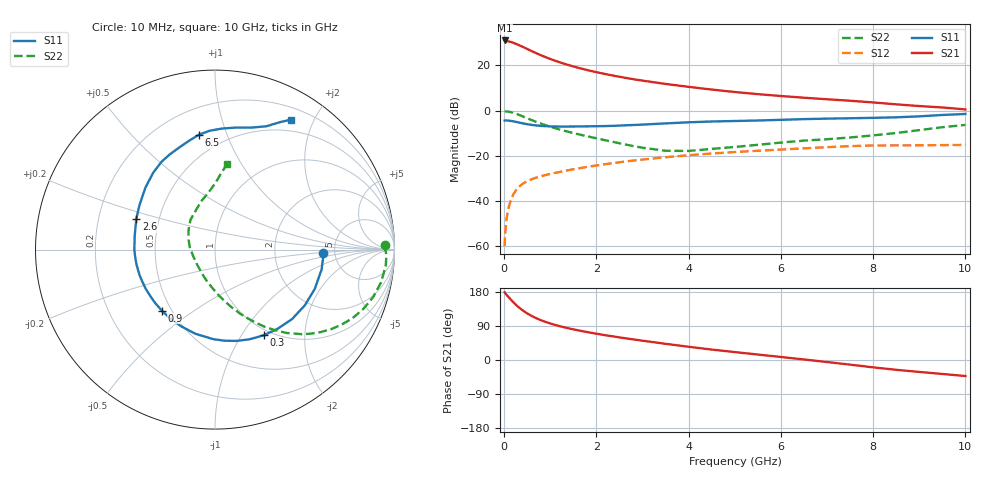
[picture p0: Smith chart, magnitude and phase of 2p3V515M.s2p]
! (c) 2009  Infineon Technologies AG, Munich
! Infineon Technologies  Discrete & RF Semiconductors
! BFP420
! VCE =  3.5 V,  IC =  15 mA
! Common Emitter S-Parameters:  Nov 2009
# GHz  S  MA  R  50
!  f  S11  S21  S12  S22
! GHz  MAG  ANG  MAG  ANG  MAG  ANG  MAG  ANG
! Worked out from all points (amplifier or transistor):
!   46 points, 10 MHz to 10 GHz, reference 50 ohm
!   highest |S21| = 31.0 dB at 10 MHz (marker M1)
!   |S21| within 3 dB of that: start of sweep to 421.3 MHz
!   unconditionally stable (mu >= 1): start of sweep to 12.88 MHz; 2.051 GHz to end of sweep
!   at 300 MHz: K = 0.28, MSG = 31.7 dB, |S12| = -34.2 dB
!   at 1.7 GHz: K = 0.92, MSG = 21.9 dB, |S12| = -25.3 dB
!   at 10 GHz: K = 1.08, MAG = 6.2 dB, |S12| = -15.2 dB
!   lowest NFmin = 1.06 dB at 900 MHz
!   S11 on the Smith chart (normalised r, x): 10 MHz: 3.99, -0.26; 300 MHz: 0.92, -1.26; 900 MHz: 0.44, -0.38; 2.6 GHz: 0.37, +0.16; 6.5 GHz: 0.36, +0.80; 10 GHz: 0.34, +1.69
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0.01  0.601 -2.0  35.53 178.7  0.001 63.5  0.9452 1.4
0.02  0.6042 -4.1  34.55 176.6  0.0018 68.6  0.9557 -1.9
0.1  0.5974 -21.6  33.73 165.5  0.0074 76.3  0.943 -11.2
0.15  0.5889 -31.9  32.74 158.7  0.0108 74.0  0.92 -16.7
0.2  0.5782 -42.0  31.53 152.4  0.0139 70.9  0.8902 -21.8
0.25  0.5625 -51.5  30.06 146.4  0.0169 67.8  0.8562 -26.5
0.3  0.5491 -60.5  28.69 140.9  0.0194 65.1  0.819 -30.8
0.35  0.5352 -69.1  27.22 135.9  0.0218 62.6  0.7815 -34.7
0.45  0.5102 -84.1  24.36 127.0  0.0257 58.6  0.7087 -41.4
0.6  0.4815 -103.1  20.59 116.0  0.0303 54.4  0.6128 -49.3
0.7  0.4674 -113.8  18.5 110.1  0.033 52.8  0.5591 -53.4
0.9  0.4511 -131.1  15.17 100.4  0.0375 50.7  0.4738 -60.2
1.2  0.4433 -150.7  11.73 89.4  0.0438 49.3  0.382 -68.7
1.7  0.446 -173.3  8.35 76.0  0.0544 47.7  0.2846 -80.5
2.2  0.454 170.1  6.396 65.3  0.0653 45.5  0.2199 -92.6
2.6  0.4705 158.7  5.358 57.8  0.0739 43.0  0.18 -104.8
3.5  0.5196 138.2  3.881 42.7  0.0927 36.7  0.129 -142.7
5.5  0.6028 109.3  2.307 14.4  0.129 20.2  0.1747 147.9
6.5  0.6463 98.0  1.923 1.4  0.1459 11.8  0.2163 128.7
7  0.6628 92.6  1.778 -5.4  0.1549 7.2  0.232 120.2
8.5  0.7088 73.5  1.373 -25.9  0.1697 -9.2  0.3186 96.8
10  0.84 59.6  1.06 -42.3  0.174 -20.1  0.4808 81.9
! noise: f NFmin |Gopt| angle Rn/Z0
0.9  1.06  0.09  -152  0.13
1.8  1.36  0.18  -147  0.12
2.4  1.49  0.17  -148  0.14
3  1.53  0.25  -138  0.14
4  1.67  0.38  -119  0.2
5  2.14  0.44  -103  0.32
6  2.48  0.5  -88  0.47
